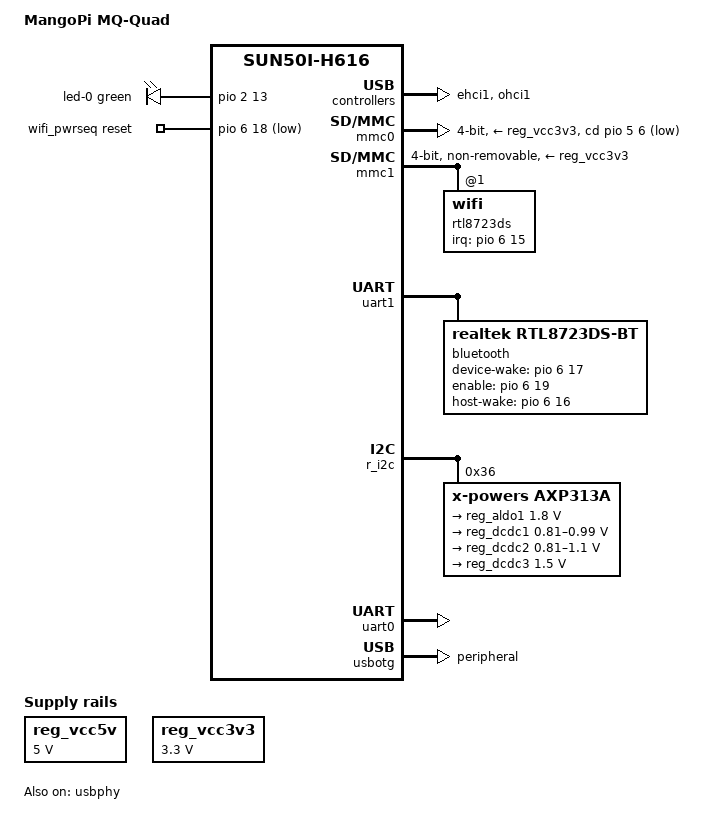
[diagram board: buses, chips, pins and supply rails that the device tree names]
/* SPDX-License-Identifier: (GPL-2.0+ OR MIT)
 * Copyright (C) 2020 Arm Ltd.
 *
 * Copyright (C) 2023 Matthew Croughan <matthew.croughan@nix.how>
 */

/dts-v1/;

#include "sun50i-h616.dtsi"

#include <dt-bindings/gpio/gpio.h>
#include <dt-bindings/interrupt-controller/arm-gic.h>
#include <dt-bindings/leds/common.h>

/ {
	model = "MangoPi MQ-Quad";
	compatible = "widora,mangopi-mq-quad", "allwinner,sun50i-h616";

	aliases {
		serial0 = &uart0;
	};

	chosen {
		stdout-path = "serial0:115200n8";
	};

	leds {
		compatible = "gpio-leds";

		led-0 {
			function = LED_FUNCTION_STATUS;
			color = <LED_COLOR_ID_GREEN>;
			gpios = <&pio 2 13 GPIO_ACTIVE_HIGH>; /* PC13 */
		};
	};

	reg_vcc5v: vcc5v {
		/* board wide 5V supply directly from the USB-C socket */
		compatible = "regulator-fixed";
		regulator-name = "vcc-5v";
		regulator-min-microvolt = <5000000>;
		regulator-max-microvolt = <5000000>;
		regulator-always-on;
	};

	reg_vcc3v3: vcc3v3 {
		/* board wide 3V3 supply directly from SY8008 regulator */
		compatible = "regulator-fixed";
		regulator-name = "vcc-3v3";
		regulator-min-microvolt = <3300000>;
		regulator-max-microvolt = <3300000>;
		regulator-always-on;
	};

	wifi_pwrseq: wifi-pwrseq {
		compatible = "mmc-pwrseq-simple";
		reset-gpios = <&pio 6 18 GPIO_ACTIVE_LOW>; /* PG18 */
	};
};

&ehci1 {
	status = "okay";
};

&pio {
	vcc-pc-supply = <&reg_vcc3v3>;
	vcc-pg-supply = <&reg_vcc3v3>;
	vcc-pi-supply = <&reg_vcc3v3>;
};

/* USB 2 & 3 are on headers only. */

&mmc0 {
	vmmc-supply = <&reg_vcc3v3>;
	cd-gpios = <&pio 5 6 GPIO_ACTIVE_LOW>;	/* PF6 */
	bus-width = <4>;
	status = "okay";
};

&mmc1 {
	bus-width = <4>;
	mmc-pwrseq = <&wifi_pwrseq>;
	non-removable;
	vmmc-supply = <&reg_vcc3v3>;
	vqmmc-supply = <&reg_vcc3v3>;
	pinctrl-0 = <&mmc1_pins>;
	pinctrl-names = "default";
	status = "okay";

	rtl8723ds: wifi@1 {
		reg = <1>;
		interrupt-parent = <&pio>;
		interrupts = <6 15 IRQ_TYPE_LEVEL_LOW>; /* PG15 */
		interrupt-names = "host-wake";
	};
};


&uart1 {
	uart-has-rtscts;
	pinctrl-0 = <&uart1_pins>, <&uart1_rts_cts_pins>;
	pinctrl-names = "default";
	status = "okay";

	bluetooth {
		compatible = "realtek,rtl8723ds-bt";
		device-wake-gpios = <&pio 6 17 GPIO_ACTIVE_HIGH>; /* PG17 */
		enable-gpios = <&pio 6 19 GPIO_ACTIVE_HIGH>; /* PG19 */
		host-wake-gpios = <&pio 6 16 GPIO_ACTIVE_HIGH>; /* PG16 */
	};
};

&ohci1 {
	status = "okay";
};

&r_i2c {
	status = "okay";

	axp313a: pmic@36 {
		compatible = "x-powers,axp313a";
		interrupt-controller;
		#interrupt-cells = <1>;
		reg = <0x36>;
		regulators {
			/*
			 * ALDO1 is feeding both VCC-PLL and VCC-DCXO, always-on is required,
			 * as removing power would cut the 1.8v supply for the RAM
			 */
			reg_aldo1: aldo1 {
				regulator-always-on;
				regulator-min-microvolt = <1800000>;
				regulator-max-microvolt = <1800000>;
				regulator-name = "vcc-1v8";
			};

			reg_dcdc1: dcdc1 {
				regulator-always-on;
				regulator-min-microvolt = <810000>;
				regulator-max-microvolt = <990000>;
				regulator-name = "vdd-gpu-sys";
			};

			reg_dcdc2: dcdc2 {
				regulator-always-on;
				regulator-min-microvolt = <810000>;
				regulator-max-microvolt = <1100000>;
				regulator-name = "vdd-cpu";
			};

			reg_dcdc3: dcdc3 {
				regulator-always-on;
				regulator-min-microvolt = <1500000>;
				regulator-max-microvolt = <1500000>;
				regulator-name = "vdd-dram";
			};

		};
	};
};

&uart0 {
	pinctrl-names = "default";
	pinctrl-0 = <&uart0_ph_pins>;
	status = "okay";
};

&usbotg {
	/*
	 * PHY0 pins are connected to a USB-C socket, but a role switch
	 * is not implemented: both CC pins are pulled to GND.
	 * The VBUS pins power the device, so a fixed peripheral mode
	 * is the best choice.
	 * The board can be powered via GPIOs, in this case port0 *can*
	 * act as a host (with a cable/adapter ignoring CC), as VBUS is
	 * then provided by the GPIOs. Any user of this setup would
	 * need to adjust the DT accordingly: dr_mode set to "host",
	 * enabling OHCI0 and EHCI0.
	 */
	dr_mode = "peripheral";
	status = "okay";
};

&usbphy {
	usb1_vbus-supply = <&reg_vcc5v>;
	status = "okay";
};
